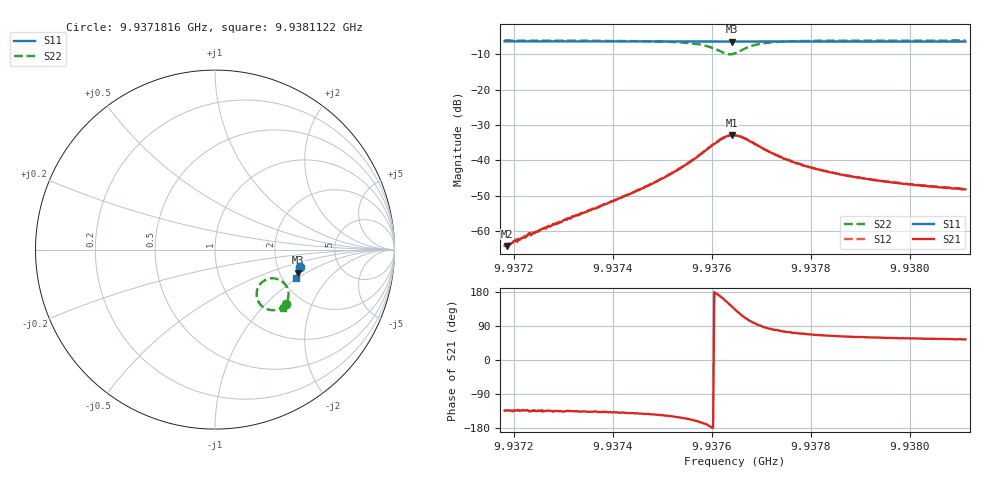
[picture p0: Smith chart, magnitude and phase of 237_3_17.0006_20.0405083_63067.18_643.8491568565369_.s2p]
#  HZ  S  RI  R  50.00
! Rohde & Schwarz Vector Network Analyzer
! Rohde-Schwarz,ZNB20-2Port,1311601062101988,3.16
! Created: UTC 3/20/2024, 11:02:44 PM
! freq[Hz]  re:S11  im:S11  re:S21  im:S21  re:S12  im:S12  re:S22  im:S22
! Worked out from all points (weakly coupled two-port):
!   401 points, 9.9371816 GHz to 9.9381122 GHz, reference 50 ohm
!   highest |S21| = -32.87 dB at 9.9376399 GHz (marker M1); lowest = -64.2 dB at 9.9371862 GHz (marker M2)
!   lowest |S11| = -6.4 dB at 9.9376399 GHz (marker M3), VSWR 2.84, Z = 126 - j41.8 ohm
!   |S11| at or under -10 dB: nowhere
!   |S22| runs from -10.0 to -6.1 dB; largest |S21 - S12| = 0.00088
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9.93718156e9  0.4737 -0.0991  -0.00043 -0.00045  -0.00043 -0.000437  0.3953 -0.3026
9.93718621e9  0.4737 -0.0993  -0.000428 -0.000445  -0.000439 -0.000437  0.395 -0.3031
9.93722576e9  0.473 -0.1021  -0.000571 -0.00062  -0.000621 -0.000598  0.3919 -0.3061
9.93725833e9  0.4723 -0.1042  -0.000782 -0.000747  -0.000789 -0.000771  0.3889 -0.3088
9.93733744e9  0.4707 -0.1096  -0.00129 -0.00122  -0.00132 -0.00126  0.3805 -0.316
9.93742585e9  0.4688 -0.1157  -0.0024 -0.00208  -0.00244 -0.00202  0.3667 -0.3252
9.93749332e9  0.4671 -0.1201  -0.00432 -0.00302  -0.00443 -0.003  0.3472 -0.3336
9.93753753e9  0.466 -0.1232  -0.00688 -0.00367  -0.00708 -0.0036  0.323 -0.3375
9.93758639e9  0.4642 -0.1265  -0.0134 -0.00275  -0.0136 -0.00237  0.271 -0.3224
9.937605e9  0.4633 -0.1276  -0.0172 0.000303  -0.0173 0.000774  0.2442 -0.294
9.93762128e9  0.4625 -0.1278  -0.0195 0.00573  -0.0199 0.00634  0.2318 -0.2479
9.93763059e9  0.4622 -0.1281  -0.0197 0.00994  -0.0196 0.0106  0.2383 -0.2152
9.9376399e9  0.4619 -0.128  -0.0179 0.0139  -0.0177 0.0146  0.2579 -0.1856
9.93764688e9  0.4622 -0.1281  -0.0156 0.0165  -0.0152 0.0171  0.2799 -0.17
9.93765851e9  0.4623 -0.1286  -0.0109 0.0186  -0.0103 0.0193  0.3199 -0.1601
9.9376748e9  0.4626 -0.1296  -0.00484 0.0184  -0.0044 0.0188  0.3651 -0.1718
9.93770272e9  0.4627 -0.1316  0.000444 0.0149  0.000858 0.0149  0.4005 -0.2099
9.93774692e9  0.462 -0.135  0.00268 0.0102  0.00301 0.0101  0.4098 -0.2514
9.93780276e9  0.461 -0.139  0.00305 0.00719  0.00323 0.00726  0.4053 -0.278
9.93787721e9  0.4593 -0.1439  0.00285 0.00529  0.00297 0.00529  0.3973 -0.2966
9.93795864e9  0.4572 -0.1495  0.00259 0.00421  0.00271 0.0042  0.3897 -0.3087
9.9381122e9  0.4531 -0.1593  0.00228 0.00317  0.0024 0.00319  0.3783 -0.3235
